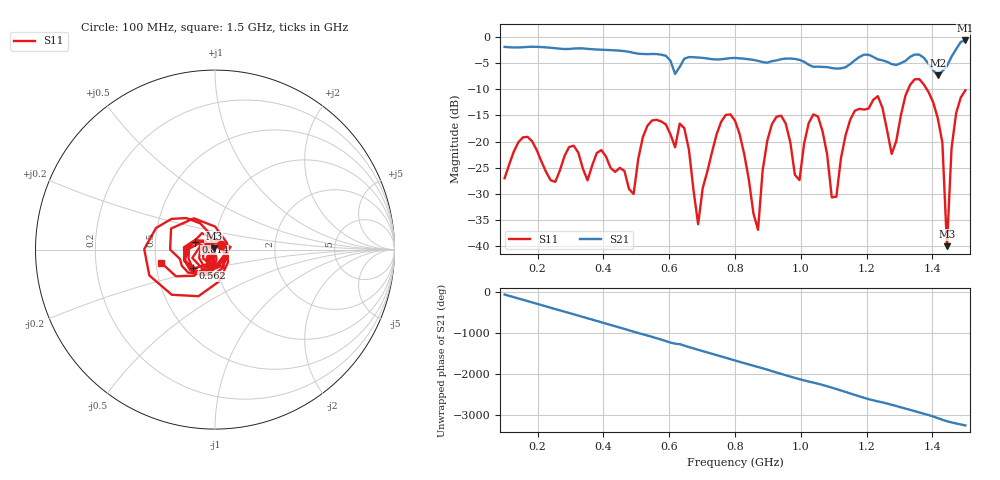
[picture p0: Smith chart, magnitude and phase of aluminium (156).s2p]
! NanoVNA-App
! Date: 2025-09-25 14:56:29
! Start: 100MHz Stop: 1,5GHz Points: 101
! S-Parameter data: F S11 S21 S12 S22
# Hz S RI R 50
!  Frequency  S11_Real  S11_Imag  S21_Real  S21_Imag  S12_Real  S12_Imag  S22_Real  S22_Imag
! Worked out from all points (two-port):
!   101 points, 100 MHz to 1.5 GHz, reference 50 ohm
!   highest |S21| = -0.69 dB at 1.5 GHz (marker M1); lowest = -7.4 dB at 1.416 GHz (marker M2)
!   |S21| within 3 dB of the highest: start of sweep to 591 MHz; 1.459 GHz to end of sweep (the widest 2 of 4)
!   lowest |S11| = -40.0 dB at 1.444 GHz (marker M3), VSWR 1.02, Z = 49.3 + j0.667 ohm
!   |S11| at or under -10 dB: start of sweep to 1.326 GHz; 1.383 GHz to end of sweep
!   S12 and S22 are empty: the file has one direction only
!   S11 on the Smith chart (normalised r, x): 100 MHz: 1.07, +0.06; 562 MHz: 0.76, -0.16; 814 MHz: 0.80, +0.07; 1.5 GHz: 0.53, -0.09
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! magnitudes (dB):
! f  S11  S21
! 100 MHz  -27.0  -1.9
! 338 MHz  -25.2  -2.2
! 492 MHz  -30.0  -3.1
! 562 MHz  -15.9  -3.3
! 576 MHz  -16.2  -3.4
! 646 MHz  -17.4  -4.2
! 688 MHz  -35.8  -4.0
! 800 MHz  -16.0  -4.0
! 814 MHz  -18.6  -4.1
! 870 MHz  -36.9  -4.6
! 912 MHz  -16.7  -4.6
! 996 MHz  -27.4  -4.4
! 1.038 GHz  -14.8  -5.7
! 1.094 GHz  -30.7  -5.9
! 1.164 GHz  -14.1  -4.5
! 1.234 GHz  -11.3  -4.3
! 1.276 GHz  -22.4  -5.2
! 1.346 GHz  -8.1  -3.4
! 1.416 GHz  -15.5  -7.4
! 1.444 GHz  -40.0  -5.6
! 1.458 GHz  -21.2  -3.8
! 1.5 GHz  -10.2  -0.7
